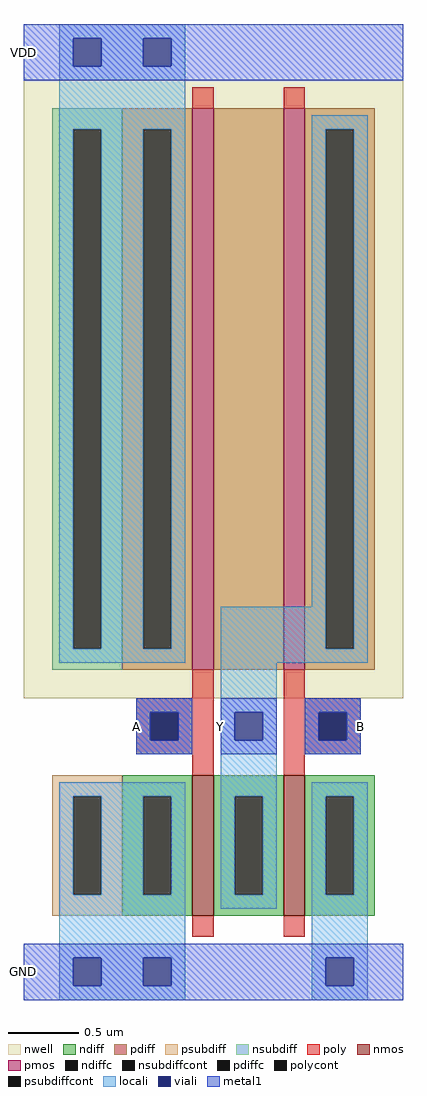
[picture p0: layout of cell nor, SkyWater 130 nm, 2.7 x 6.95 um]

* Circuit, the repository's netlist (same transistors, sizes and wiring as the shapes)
* NGSPICE file created from nor.ext - technology: sky130A

.subckt nor A B Y VDD GND
X0 Y B a_65_115# VDD sky130_fd_pr__pfet_01v8 ad=2 pd=9 as=1 ps=4.5 w=4 l=0.15
**devattr s=10000,450 d=20000,900
X1 Y A GND GND sky130_fd_pr__nfet_01v8 ad=0.25 pd=1.5 as=0.5 ps=3 w=1 l=0.15
**devattr s=5000,300 d=2500,150
X2 GND B Y GND sky130_fd_pr__nfet_01v8 ad=0.5 pd=3 as=0.25 ps=1.5 w=1 l=0.15
**devattr s=2500,150 d=5000,300
X3 a_65_115# A VDD VDD sky130_fd_pr__pfet_01v8 ad=1 pd=4.5 as=2 ps=9 w=4 l=0.15
**devattr s=20000,900 d=10000,450
.ends

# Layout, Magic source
magic
tech sky130A
<< nwell >>
rect -70 95 200 535
<< nmos >>
rect 50 -60 65 40
rect 115 -60 130 40
<< pmos >>
rect 50 115 65 515
rect 115 115 130 515
<< ndiff >>
rect 0 25 50 40
rect 0 -45 15 25
rect 35 -45 50 25
rect 0 -60 50 -45
rect 65 25 115 40
rect 65 -45 80 25
rect 100 -45 115 25
rect 65 -60 115 -45
rect 130 25 180 40
rect 130 -45 145 25
rect 165 -45 180 25
rect 130 -60 180 -45
<< pdiff >>
rect 0 500 50 515
rect 0 130 15 500
rect 35 130 50 500
rect 0 115 50 130
rect 65 115 115 515
rect 130 500 180 515
rect 130 130 145 500
rect 165 130 180 500
rect 130 115 180 130
<< ndiffc >>
rect 15 -45 35 25
rect 80 -45 100 25
rect 145 -45 165 25
<< pdiffc >>
rect 15 130 35 500
rect 145 130 165 500
<< psubdiff >>
rect -50 25 0 40
rect -50 -45 -35 25
rect -15 -45 0 25
rect -50 -60 0 -45
<< nsubdiff >>
rect -50 500 0 515
rect -50 130 -35 500
rect -15 130 0 500
rect -50 115 0 130
<< psubdiffcont >>
rect -35 -45 -15 25
<< nsubdiffcont >>
rect -35 130 -15 500
<< poly >>
rect 50 515 65 530
rect 115 515 130 530
rect 50 95 65 115
rect 10 85 65 95
rect 10 65 20 85
rect 40 65 65 85
rect 10 55 65 65
rect 50 40 65 55
rect 115 95 130 115
rect 115 85 170 95
rect 115 65 140 85
rect 160 65 170 85
rect 115 55 170 65
rect 115 40 130 55
rect 50 -75 65 -60
rect 115 -75 130 -60
<< polycont >>
rect 20 65 40 85
rect 140 65 160 85
<< locali >>
rect -45 565 45 575
rect -45 545 -35 565
rect -15 545 15 565
rect 35 545 45 565
rect -45 500 45 545
rect -45 130 -35 500
rect -15 130 15 500
rect 35 130 45 500
rect 135 500 175 510
rect 135 160 145 500
rect -45 120 45 130
rect 70 130 145 160
rect 165 130 175 500
rect 70 120 175 130
rect 10 85 50 95
rect 10 65 20 85
rect 40 65 50 85
rect 10 55 50 65
rect 70 85 110 120
rect 70 65 80 85
rect 100 65 110 85
rect -45 25 45 35
rect -45 -45 -35 25
rect -15 -45 15 25
rect 35 -45 45 25
rect -45 -90 45 -45
rect 70 25 110 65
rect 130 85 170 95
rect 130 65 140 85
rect 160 65 170 85
rect 130 55 170 65
rect 70 -45 80 25
rect 100 -45 110 25
rect 70 -55 110 -45
rect 135 25 175 35
rect 135 -45 145 25
rect 165 -45 175 25
rect -45 -110 -35 -90
rect -15 -110 15 -90
rect 35 -110 45 -90
rect -45 -120 45 -110
rect 135 -90 175 -45
rect 135 -110 145 -90
rect 165 -110 175 -90
rect 135 -120 175 -110
<< viali >>
rect -35 545 -15 565
rect 15 545 35 565
rect 20 65 40 85
rect 80 65 100 85
rect 140 65 160 85
rect -35 -110 -15 -90
rect 15 -110 35 -90
rect 145 -110 165 -90
<< metal1 >>
rect -70 565 200 575
rect -70 545 -35 565
rect -15 545 15 565
rect 35 545 200 565
rect -70 535 200 545
rect 10 85 50 95
rect 10 65 20 85
rect 40 65 50 85
rect 10 55 50 65
rect 70 85 110 95
rect 70 65 80 85
rect 100 65 110 85
rect 70 55 110 65
rect 130 85 170 95
rect 130 65 140 85
rect 160 65 170 85
rect 130 55 170 65
rect -70 -90 200 -80
rect -70 -110 -35 -90
rect -15 -110 15 -90
rect 35 -110 145 -90
rect 165 -110 200 -90
rect -70 -120 200 -110
<< labels >>
flabel metal1 -70 555 -70 555 7 FreeSans 80 0 -40 0 VDD
port 4 w
flabel metal1 -70 -100 -70 -100 7 FreeSans 80 0 -40 0 GND
port 5 w
flabel metal1 70 75 70 75 7 FreeSans 80 0 -40 0 Y
port 3 w
flabel metal1 170 75 170 75 3 FreeSans 80 0 40 0 B
port 2 e
flabel metal1 10 75 10 75 7 FreeSans 80 0 -40 0 A
port 1 w
<< end >>
